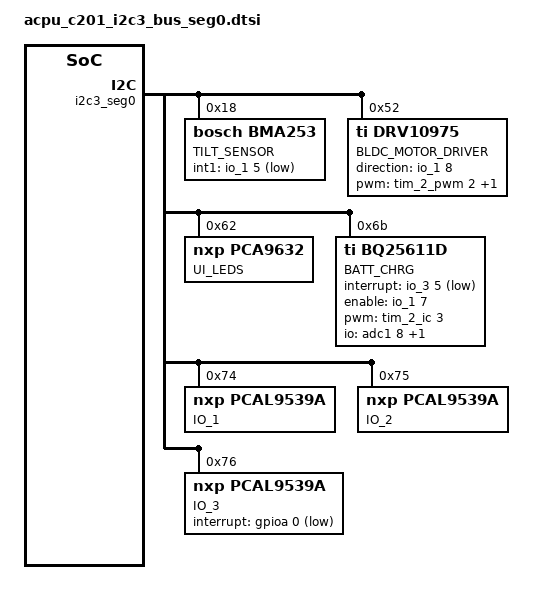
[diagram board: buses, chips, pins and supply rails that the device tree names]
/*
 * Copyright (c) 2021 Acme CPU
 *
 */

&i2c3_seg0 {

  bma253@18 {
    compatible = "bosch,bma253";
    reg = <0x18>;
    label = "TILT_SENSOR";
    int1-gpios = <&io_1 5 GPIO_ACTIVE_LOW>;
  };
  
  /* temporary, for testing */
  /*
  p122_ps_test: bmp388@77 {	
    compatible = "bosch,bmp388";
    reg = <0x77>;
    label = "PRESS_TEST";
    odr = "25";			
    osr-press = <1>;	
    osr-temp = <1>;		
    iir-filter = <0>;	
  };*/

  drv10975@52 {
    compatible = "ti,drv10975";
    reg = <0x52>;
    label = "BLDC_MOTOR_DRIVER";
    direction-gpios = <&io_1 8 GPIO_ACTIVE_HIGH>;
    pwms = <&tim_2_pwm 2 10000000 0>,
           <&tim_2_ic 1 10000000 0>;
    pwm-names = "SPEED","TACHO";
  };


  led_drv: pca9632@62 {
    compatible = "nxp,pca9632";
    reg = <0x62>;
    label = "UI_LEDS";
    #pwm-cells = <1>;
  };


  bq25611d@6b {
    compatible = "ti,bq25611d";
    reg = <0x6b>;
    label = "BATT_CHRG";
    interrupt-gpios = <&io_3 5 (GPIO_PULL_UP | GPIO_ACTIVE_LOW)>;
    enable-gpios = <&io_1 7 GPIO_ACTIVE_HIGH>;
    pwms = <&tim_2_ic 3 10000000 0>;
    pwm-names = "bc-status";
	io-channels = <&adc1 8>,
				  <&adc1 7>;
	io-channel-names = "batt-voltage",
					   "vbus-voltage";
	/*batsense-enable-gpios = <&io_1 9 GPIO_ACTIVE_HIGH>;*/
  };


  io_1: pcal9539@74 {
    compatible = "nxp,pcal9539a";
    reg = <0x74>;
    gpio-controller;
    has-pud;
    /*interrupt-gpios = <&i2c_mux 0 (GPIO_INPUT | GPIO_INT_EDGE_FALLING)>;*/
    #gpio-cells = <2>;
    ngpios = <16>;
    label = "IO_1";
  };

  io_2: pcal9539@75 {
    compatible = "nxp,pcal9539a";
    reg = <0x75>;
    gpio-controller;
    has-pud;
    /*interrupt-gpios = <&io_1 6 (GPIO_INPUT | GPIO_INT_EDGE_FALLING)>;*/
    #gpio-cells = <2>;
    ngpios = <16>;
    label = "IO_2";
  };

  io_3: pcal9539@76 {
    compatible = "nxp,pcal9539a";
    reg = <0x76>;
    gpio-controller;
    has-pud;
    interrupt-gpios = <&gpioa 0 (GPIO_PULL_UP | GPIO_ACTIVE_LOW)>;
    #gpio-cells = <2>;
    ngpios = <16>;
    label = "IO_3";
  };

};
